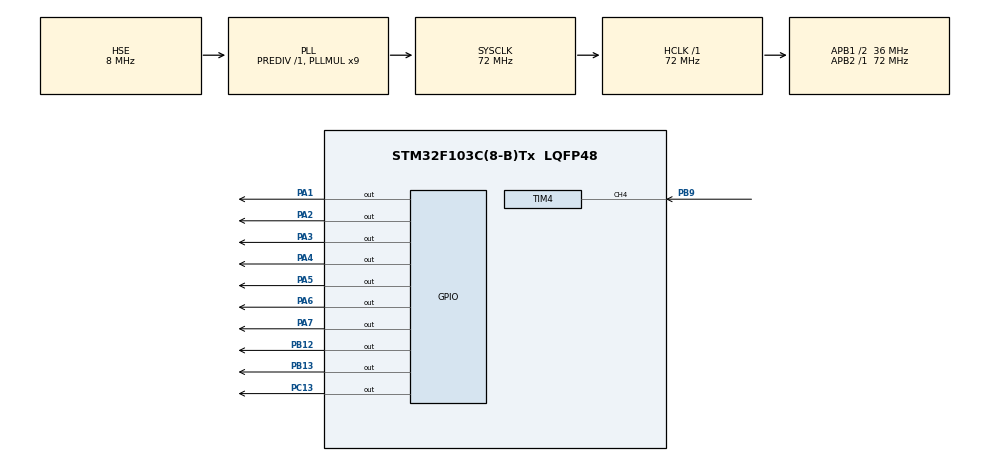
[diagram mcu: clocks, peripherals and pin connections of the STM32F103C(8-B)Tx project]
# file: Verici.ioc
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Mcu.Family=STM32F1
Mcu.Name=STM32F103C(8-B)Tx
Mcu.Package=LQFP48
NVIC.FLASH_IRQn=true\:0\:0\:false\:false\:true\:true\:true\:true
NVIC.PriorityGroup=NVIC_PRIORITYGROUP_4
NVIC.RCC_IRQn=true\:0\:0\:false\:false\:true\:true\:false\:true
NVIC.TIM1_BRK_IRQn=true\:0\:0\:false\:false\:true\:true\:true\:true
NVIC.TIM1_CC_IRQn=true\:0\:0\:false\:false\:true\:true\:true\:true
NVIC.TIM1_TRG_COM_IRQn=true\:0\:0\:false\:false\:true\:true\:true\:true
NVIC.TIM1_UP_IRQn=true\:0\:0\:false\:false\:true\:true\:true\:true
NVIC.TIM4_IRQn=true\:0\:0\:false\:false\:true\:true\:true\:true
PA1.Signal=GPIO_Output
PA13.Mode=Serial_Wire
PA13.Signal=SYS_JTMS-SWDIO
PA14.Mode=Serial_Wire
PA14.Signal=SYS_JTCK-SWCLK
PA2.Signal=GPIO_Output
PA3.Signal=GPIO_Output
PA4.Signal=GPIO_Output
PA5.Signal=GPIO_Output
PA6.Signal=GPIO_Output
PA7.Signal=GPIO_Output
PB12.Signal=GPIO_Output
PB13.Signal=GPIO_Output
PB9.Signal=S_TIM4_CH4
PC13-TAMPER-RTC.Signal=GPIO_Output
PD0-OSC_IN.Mode=HSE-External-Oscillator
PD0-OSC_IN.Signal=RCC_OSC_IN
PD1-OSC_OUT.Mode=HSE-External-Oscillator
PD1-OSC_OUT.Signal=RCC_OSC_OUT
ProjectManager.HeapSize=0x200
ProjectManager.StackSize=0x400
ProjectManager.TargetToolchain=STM32CubeIDE
RCC.AHBFreq_Value=72000000
RCC.APB1CLKDivider=RCC_HCLK_DIV2
RCC.APB1Freq_Value=36000000
RCC.APB1TimFreq_Value=72000000
RCC.APB2Freq_Value=72000000
RCC.APB2TimFreq_Value=72000000
RCC.HCLKFreq_Value=72000000
RCC.PLLMUL=RCC_PLL_MUL9
RCC.PLLSourceVirtual=RCC_PLLSOURCE_HSE
RCC.SYSCLKFreq_VALUE=72000000
RCC.SYSCLKSource=RCC_SYSCLKSOURCE_PLLCLK
RCC.USBFreq_Value=72000000
SH.S_TIM4_CH4.0=TIM4_CH4,Input_Capture4_from_TI4
TIM1.AutoReloadPreload=TIM_AUTORELOAD_PRELOAD_DISABLE
TIM1.Period=0xffff-1
TIM1.Prescaler=72-1
TIM4.Channel-Input_Capture4_from_TI4=TIM_CHANNEL_4
TIM4.ICPolarity_CH4=TIM_INPUTCHANNELPOLARITY_FALLING
TIM4.Period=0xffff-1
TIM4.Prescaler=72-1
VP_TIM1_VS_ClockSourceINT.Mode=Internal
VP_TIM4_VS_ClockSourceINT.Mode=Internal
board=custom

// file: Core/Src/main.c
/* USER CODE BEGIN Header */
/**
  ******************************************************************************
  * @file           : main.c
  * @brief          : Main program body
  ******************************************************************************
  * @attention
  *
  * Copyright (c) 2025 STMicroelectronics.
  * All rights reserved.
  *
  * This software is licensed under terms that can be found in the LICENSE file
  * in the root directory of this software component.
  * If no LICENSE file comes with this software, it is provided AS-IS.
  *
  ******************************************************************************
  */
/* USER CODE END Header */
#include "main.h"

/* USER CODE BEGIN Includes */
#include <math.h> // Sinüs hesaplamaları için gerekli
#include "stdio.h"
#include "LCD1602.h"
#include <stdlib.h>

/* USER CODE END Includes */

TIM_HandleTypeDef htim1;
TIM_HandleTypeDef htim4;

/* USER CODE BEGIN PV */
float deger=100;
float carpan=0.2;
float ekle=100;
int ARR=4000;
int PSC=1;
int frekans=38400;
float F_sayisi=0;
float toplam=0;
float oran=0;
#define TIMCLOCK 72000000.0
#define PRESCALAR 72

uint32_t IC_Val1=0;
uint32_t IC_Val2=0;
uint32_t Difference=0;

int Is_First_Captured=0;

int freq=0;
float frequency = 0;
int gpio9=0;
//periot=(psc-1)*(arr-1)/8000000
//frekans=8000000/((psc-1)*(arr-1))
//frekans*((psc-1)*(arr-1))=8000000
//arr-1=8000000/(frekans*(psc-1))

// Gönderilecek veri
uint8_t txData = 0x00; // Örneğin, 8 bitlik 0x55 verisi (01010101)

// Alınan veri için bir değişken
uint8_t rxData;

/* USER CODE END PV */

void SystemClock_Config(void);
static void MX_GPIO_Init(void);
static void MX_TIM1_Init(void);
static void MX_TIM4_Init(void);

/* USER CODE BEGIN 0 */
int row=0;
int col=0;
char data[32];

void HAL_GPIO_EXTI_Callback(uint16_t GPIO_Pin) {
    if (GPIO_Pin == GPIO_PIN_4) {
        if (GPIOB->IDR & GPIO_IDR_IDR4) {

/*
        	txData++;

        	ARR=(TIMCLOCK/(frekans*(PSC+1)))-1;
      	    TIM1->CCR4=ARR*0.5;
      	    TIM1->ARR=ARR;
      	    TIM1->PSC=PSC;

      	    //HAL_GPIO_TogglePin(GPIOC, GPIO_PIN_13);

        	if(frekans==38400){
        		ekle=-100;
        		frekans=30000;
        	}
        	else if(frekans <= 30000){
        		ekle=100;
        		frekans=38400;
        	}
*/

        }
    }

}

/*
void HAL_TIM_PeriodElapsedCallback(TIM_HandleTypeDef *htim) {
    if (htim->Instance == TIM3) {

  	  //HAL_GPIO_TogglePin(GPIOC, GPIO_PIN_13);
  	  //HAL_GPIO_WritePin(GPIOC, GPIO_PIN_13, RESET);

    	HAL_GPIO_TogglePin(GPIOB, GPIO_PIN_0);

    }

}
*/

void HAL_TIM_IC_CaptureCallback(TIM_HandleTypeDef *htim)
{
	if (htim->Channel == HAL_TIM_ACTIVE_CHANNEL_4)
	{
		if (Is_First_Captured==0) // if the first rising edge is not captured
		{
			IC_Val1 = HAL_TIM_ReadCapturedValue(htim, TIM_CHANNEL_4); // read the first value
			Is_First_Captured = 1;  // set the first captured as true
		}

		else   // If the first rising edge is captured, now we will capture the second edge
		{
			IC_Val2 = HAL_TIM_ReadCapturedValue(htim, TIM_CHANNEL_4);  // read second value

			if (IC_Val2 > IC_Val1)
			{
				Difference = IC_Val2-IC_Val1;
			}

			else if (IC_Val1 > IC_Val2)
			{
				Difference = (0xffffffff - IC_Val1) + IC_Val2;
			}

			float refClock = TIMCLOCK/(PRESCALAR);

			frequency = refClock/Difference;

			__HAL_TIM_SET_COUNTER(htim, 0);  // reset the counter
			Is_First_Captured = 0; // set it back to false
		}
	}
}
/*
void HAL_TIM_IC_CaptureCallback(TIM_HandleTypeDef *htim){

	if(htim->Channel==HAL_TIM_ACTIVE_CHANNEL_4){

		if(is_first_captured==0){

			IC_Val1= HAL_TIM_ReadCapturedValue(htim,TIM_CHANNEL_4); //__HAL_TIM_GET_COMPARE(htim,TIM_CHANNEL_1);  //HAL_TIM_ReadCapturedValue(htim,TIM_CHANNEL_1);
			is_first_captured=1;

			__HAL_TIM_SET_CAPTUREPOLARITY(htim,TIM_CHANNEL_4,TIM_INPUTCHANNELPOLARITY_FALLING);
		}

		else if(is_first_captured==1){
			IC_Val2=HAL_TIM_ReadCapturedValue(htim,TIM_CHANNEL_4); //__HAL_TIM_GET_COMPARE(htim,TIM_CHANNEL_1); //HAL_TIM_ReadCapturedValue(htim,TIM_CHANNEL_1);
			__HAL_TIM_SET_COUNTER(htim, 0);
			if(IC_Val2 > IC_Val1){
				Difference=(IC_Val2-IC_Val1)/100000;

			}
			is_first_captured=0;
			__HAL_TIM_SET_CAPTUREPOLARITY(htim,TIM_CHANNEL_4,TIM_INPUTCHANNELPOLARITY_RISING);

	      }
	}

}

*/
/* USER CODE END 0 */

int main(void)
{

  /* MCU Configuration--------------------------------------------------------*/

  /* Reset of all peripherals, Initializes the Flash interface and the Systick. */
  HAL_Init();

  /* USER CODE BEGIN Init */

  //LCD_Init();
  //lcd_init(_LCD_4BIT, _LCD_FONT_5x8, _LCD_2LINE);
  //lcd_clear();

  /* USER CODE END Init */

  /* Configure the system clock */
  SystemClock_Config();

  /* Initialize all configured peripherals */
  MX_GPIO_Init();
  MX_TIM1_Init();
  MX_TIM4_Init();
  /* USER CODE BEGIN 2 */
  HAL_TIM_Base_Start(&htim1);
  HAL_TIM_IC_Start_IT(&htim4, TIM_CHANNEL_4);

  lcd_init();
   lcd_put_cur(0, 0);
   lcd_send_string("TUBITAK2209-A ");
   HAL_Delay(1000);
   lcd_put_cur(1, 0);
   lcd_send_string("----->AMKS<----- ");
   HAL_Delay(2000);
   lcd_clear();

   lcd_put_cur(0, 0);
   lcd_send_string("Frekans:");

/*
 // HAL_TIM_Base_Start_IT(&htim3);
  HAL_TIM_Base_Start(&htim1);
  HAL_TIM_PWM_Start(&htim1, TIM_CHANNEL_4);

  HAL_TIM_Base_Start(&htim2);
  HAL_TIM_PWM_Start(&htim2, TIM_CHANNEL_4);
  TIM2->CCR4=200*0.5;

  HAL_TIM_IC_Start_IT(&htim4, TIM_CHANNEL_1);

  ARR=(TIMCLOCK/(frekans*(PSC+1)))-1;
  TIM1->CCR4=ARR*0.6;
  TIM1->ARR=ARR;
  TIM1->PSC=PSC;
  HAL_GPIO_WritePin(GPIOA, GPIO_PIN_8, 0);

*/

  //MX_USART3_UART_Init();

  //lcd_print(1, 1,"LCD");
  //lcd_print(2, 1,"ayarlanıyor...");
  //HAL_Delay(250);
  /* USER CODE END 2 */

  /* Infinite loop */
  /* USER CODE BEGIN WHILE */

int fark38;
int fark37;
float f37=1;
float f38=1;
HAL_GPIO_WritePin(GPIOB, GPIO_PIN_13, RESET);
HAL_GPIO_WritePin(GPIOB, GPIO_PIN_12, RESET);
float oran=0;
float eskioran=0;
int artis=0;
int say1=0;
int say0=0;
  while (1)
  {
    /* USER CODE END WHILE */

    /* USER CODE BEGIN 3 */

	  //sprintf(data, "%lu Hz", (unsigned long)Difference);
	  sprintf(data, "%d Hz", (int)frequency);  // %.2f = 2 basamak hassasiyet
	   lcd_put_cur(0, 0);
	   lcd_send_string("Frekans:");
	   lcd_put_cur(0, 8);
	   lcd_send_string(data);
	   HAL_Delay(10);
	   lcd_clear();

	   fark38=(int)frequency-38400;
	   fark37=(int)frequency-37100;

	   if(abs(fark38) <=500){
		   f38++;

	   }
	   else if(abs(fark37) <=500){
		   f37++;

	   }

	   oran=f38/f37;
	   if(oran>eskioran){
		   artis=1;
		   eskioran=oran;
	   }

	   else if(oran<eskioran){
		   artis=0;
		   eskioran=oran;
	   }

	   else{
		   artis=-1;

		   HAL_GPIO_WritePin(GPIOB, GPIO_PIN_13, RESET);
		   HAL_GPIO_WritePin(GPIOB, GPIO_PIN_12, RESET);
	   }

	   if(artis==1){
		   say1++;
		   if(say1>=10){
			   say1=0;
			   say0=0;
			   HAL_GPIO_WritePin(GPIOB, GPIO_PIN_13, RESET);
			   HAL_GPIO_WritePin(GPIOB, GPIO_PIN_12, SET);
		   }

	   }

	   else if(artis==0){
		   say0++;
		   if(say0>=10){
			   say0=0;
			   say1=0;
			   HAL_GPIO_WritePin(GPIOB, GPIO_PIN_13, SET);
			   HAL_GPIO_WritePin(GPIOB, GPIO_PIN_12, RESET);
		   }
	   }

	   if(f38>=200){
		   f38=1;
	   }
	   if(f37>=200){
		   f37=1;
	   }

	   lcd_put_cur(1, 0);
	   lcd_send_string("F_38/F_37:");
	   sprintf(data, "%.2f", oran);
	   lcd_put_cur(1, 10);
	   lcd_send_string(data);

	  /*
	  for (int i=0;i<128;i++)
	  {
		  lcd_put_cur(row, col);

		  lcd_send_data(i+48);

		  col++;

		  if (col > 15) {row++; col = 0;}
		  if (row > 1) row=0;

		  HAL_Delay(250);
	  }
*/

/*
  	for(int frekans=38400;frekans<=44000;frekans+=5600){

			ARR=(TIMCLOCK/(frekans*(PSC+1)))-1;
			TIM1->CCR4=ARR*0.5;
			TIM1->ARR=ARR;
			TIM1->PSC=PSC;

			//HAL_GPIO_TogglePin(GPIOC, GPIO_PIN_13);
			HAL_Delay(100);
  	}

  	for(int frekans=44000;frekans>=38400;frekans-=5600){

			ARR=(TIMCLOCK/(frekans*(PSC+1)))-1;
			TIM1->CCR4=ARR*0.5;
			TIM1->ARR=ARR;
			TIM1->PSC=PSC;

			//HAL_GPIO_TogglePin(GPIOC, GPIO_PIN_13);
			HAL_Delay(0.5);
  	}
*/
	  /*
	  gpio9=HAL_GPIO_ReadPin(GPIOA, GPIO_PIN_9);

	  if(gpio9){
		  HAL_GPIO_WritePin(GPIOC, GPIO_PIN_13, RESET);
		  F_sayisi++;
		  HAL_GPIO_WritePin(GPIOA, GPIO_PIN_8, 1);
	  }
	  else{
		  HAL_GPIO_WritePin(GPIOC, GPIO_PIN_13, SET);
		  toplam++;
		  HAL_GPIO_WritePin(GPIOA, GPIO_PIN_8, 0);
	  }

*/

	  /*

	  if(freq == 38461){
		  HAL_GPIO_WritePin(GPIOC, GPIO_PIN_13, RESET);
		  HAL_TIM_PWM_Start(&htim2, TIM_CHANNEL_4);

	  }
	  else{
		  HAL_TIM_PWM_Stop(&htim2, TIM_CHANNEL_4);
		 HAL_GPIO_WritePin(GPIOC, GPIO_PIN_13, SET);
	  }

	  */
	 // oran=F_sayisi/toplam;

    /*
	  for(int frekans=20000; frekans<=50000;frekans+=100){

      	ARR=(8000000/(frekans*(PSC+1)))-1;
    	TIM1->CCR4=ARR*0.5;
    	TIM1->ARR=ARR;
    	TIM1->PSC=PSC;
    	HAL_Delay(100);
	  }

	  for(int frekans=50000; frekans>=20000;frekans-=100){

      	ARR=(8000000/(frekans*(PSC+1)))-1;
    	TIM1->CCR4=ARR*0.5;
    	TIM1->ARR=ARR;
    	TIM1->PSC=PSC;
    	HAL_Delay(100);
	  }

	*/

      // 8 bitlik veri gönderme
      /*HAL_UART_Transmit(&huart3, &txData, 1, HAL_MAX_DELAY);
      for (int i = 0; i < SAMPLES; i++) {
          // Her örneği UART üzerinden gönder
          HAL_UART_Transmit(&huart3, &sine_wave[i], 1, HAL_MAX_DELAY);
      }

       8 bitlik veri alma
      //HAL_UART_Receive(&huart3, &rxData, 1, HAL_MAX_DELAY);

       Alınan veriyi kontrol edebilirsiniz
      if (rxData == 0x55) {
          // Örneğin: LED yakmak veya başka bir işlem yapmak
          HAL_GPIO_TogglePin(GPIOC, GPIO_PIN_13);
          HAL_Delay(500); // 500ms bekleme
      }
      */

  }
  /* USER CODE END 3 */
}

void SystemClock_Config(void)
{
  RCC_OscInitTypeDef RCC_OscInitStruct = {0};
  RCC_ClkInitTypeDef RCC_ClkInitStruct = {0};

  /** Initializes the RCC Oscillators according to the specified parameters
  * in the RCC_OscInitTypeDef structure.
  */
  RCC_OscInitStruct.OscillatorType = RCC_OSCILLATORTYPE_HSE;
  RCC_OscInitStruct.HSEState = RCC_HSE_ON;
  RCC_OscInitStruct.HSEPredivValue = RCC_HSE_PREDIV_DIV1;
  RCC_OscInitStruct.HSIState = RCC_HSI_ON;
  RCC_OscInitStruct.PLL.PLLState = RCC_PLL_ON;
  RCC_OscInitStruct.PLL.PLLSource = RCC_PLLSOURCE_HSE;
  RCC_OscInitStruct.PLL.PLLMUL = RCC_PLL_MUL9;
  if (HAL_RCC_OscConfig(&RCC_OscInitStruct) != HAL_OK)
  {
    Error_Handler();
  }

  /** Initializes the CPU, AHB and APB buses clocks
  */
  RCC_ClkInitStruct.ClockType = RCC_CLOCKTYPE_HCLK|RCC_CLOCKTYPE_SYSCLK
                              |RCC_CLOCKTYPE_PCLK1|RCC_CLOCKTYPE_PCLK2;
  RCC_ClkInitStruct.SYSCLKSource = RCC_SYSCLKSOURCE_PLLCLK;
  RCC_ClkInitStruct.AHBCLKDivider = RCC_SYSCLK_DIV1;
  RCC_ClkInitStruct.APB1CLKDivider = RCC_HCLK_DIV2;
  RCC_ClkInitStruct.APB2CLKDivider = RCC_HCLK_DIV1;

  if (HAL_RCC_ClockConfig(&RCC_ClkInitStruct, FLASH_LATENCY_2) != HAL_OK)
  {
    Error_Handler();
  }
}

static void MX_TIM1_Init(void)
{

  TIM_ClockConfigTypeDef sClockSourceConfig = {0};
  TIM_MasterConfigTypeDef sMasterConfig = {0};

  htim1.Instance = TIM1;
  htim1.Init.Prescaler = 72-1;
  htim1.Init.CounterMode = TIM_COUNTERMODE_UP;
  htim1.Init.Period = 0xffff-1;
  htim1.Init.ClockDivision = TIM_CLOCKDIVISION_DIV1;
  htim1.Init.RepetitionCounter = 0;
  htim1.Init.AutoReloadPreload = TIM_AUTORELOAD_PRELOAD_DISABLE;
  if (HAL_TIM_Base_Init(&htim1) != HAL_OK)
  {
    Error_Handler();
  }
  sClockSourceConfig.ClockSource = TIM_CLOCKSOURCE_INTERNAL;
  if (HAL_TIM_ConfigClockSource(&htim1, &sClockSourceConfig) != HAL_OK)
  {
    Error_Handler();
  }
  sMasterConfig.MasterOutputTrigger = TIM_TRGO_RESET;
  sMasterConfig.MasterSlaveMode = TIM_MASTERSLAVEMODE_DISABLE;
  if (HAL_TIMEx_MasterConfigSynchronization(&htim1, &sMasterConfig) != HAL_OK)
  {
    Error_Handler();
  }

}

static void MX_TIM4_Init(void)
{

  TIM_ClockConfigTypeDef sClockSourceConfig = {0};
  TIM_MasterConfigTypeDef sMasterConfig = {0};
  TIM_IC_InitTypeDef sConfigIC = {0};

  htim4.Instance = TIM4;
  htim4.Init.Prescaler = 72-1;
  htim4.Init.CounterMode = TIM_COUNTERMODE_UP;
  htim4.Init.Period = 0xffff-1;
  htim4.Init.ClockDivision = TIM_CLOCKDIVISION_DIV1;
  htim4.Init.AutoReloadPreload = TIM_AUTORELOAD_PRELOAD_DISABLE;
  if (HAL_TIM_Base_Init(&htim4) != HAL_OK)
  {
    Error_Handler();
  }
  sClockSourceConfig.ClockSource = TIM_CLOCKSOURCE_INTERNAL;
  if (HAL_TIM_ConfigClockSource(&htim4, &sClockSourceConfig) != HAL_OK)
  {
    Error_Handler();
  }
  if (HAL_TIM_IC_Init(&htim4) != HAL_OK)
  {
    Error_Handler();
  }
  sMasterConfig.MasterOutputTrigger = TIM_TRGO_RESET;
  sMasterConfig.MasterSlaveMode = TIM_MASTERSLAVEMODE_DISABLE;
  if (HAL_TIMEx_MasterConfigSynchronization(&htim4, &sMasterConfig) != HAL_OK)
  {
    Error_Handler();
  }
  sConfigIC.ICPolarity = TIM_INPUTCHANNELPOLARITY_FALLING;
  sConfigIC.ICSelection = TIM_ICSELECTION_DIRECTTI;
  sConfigIC.ICPrescaler = TIM_ICPSC_DIV1;
  sConfigIC.ICFilter = 0;
  if (HAL_TIM_IC_ConfigChannel(&htim4, &sConfigIC, TIM_CHANNEL_4) != HAL_OK)
  {
    Error_Handler();
  }

}

static void MX_GPIO_Init(void)
{
  GPIO_InitTypeDef GPIO_InitStruct = {0};

  /* GPIO Ports Clock Enable */
  __HAL_RCC_GPIOC_CLK_ENABLE();
  __HAL_RCC_GPIOD_CLK_ENABLE();
  __HAL_RCC_GPIOA_CLK_ENABLE();
  __HAL_RCC_GPIOB_CLK_ENABLE();

  /*Configure GPIO pin Output Level */
  HAL_GPIO_WritePin(GPIOC, GPIO_PIN_13, GPIO_PIN_RESET);

  /*Configure GPIO pin Output Level */
  HAL_GPIO_WritePin(GPIOA, GPIO_PIN_1|GPIO_PIN_2|GPIO_PIN_3|GPIO_PIN_4
                          |GPIO_PIN_5|GPIO_PIN_6|GPIO_PIN_7, GPIO_PIN_RESET);

  /*Configure GPIO pin Output Level */
  HAL_GPIO_WritePin(GPIOB, GPIO_PIN_12|GPIO_PIN_13, GPIO_PIN_RESET);

  /*Configure GPIO pin : PC13 */
  GPIO_InitStruct.Pin = GPIO_PIN_13;
  GPIO_InitStruct.Mode = GPIO_MODE_OUTPUT_PP;
  GPIO_InitStruct.Pull = GPIO_NOPULL;
  GPIO_InitStruct.Speed = GPIO_SPEED_FREQ_LOW;
  HAL_GPIO_Init(GPIOC, &GPIO_InitStruct);

  /*Configure GPIO pins : PA1 PA2 PA3 PA4
                           PA5 PA6 PA7 */
  GPIO_InitStruct.Pin = GPIO_PIN_1|GPIO_PIN_2|GPIO_PIN_3|GPIO_PIN_4
                          |GPIO_PIN_5|GPIO_PIN_6|GPIO_PIN_7;
  GPIO_InitStruct.Mode = GPIO_MODE_OUTPUT_PP;
  GPIO_InitStruct.Pull = GPIO_NOPULL;
  GPIO_InitStruct.Speed = GPIO_SPEED_FREQ_LOW;
  HAL_GPIO_Init(GPIOA, &GPIO_InitStruct);

  /*Configure GPIO pins : PB12 PB13 */
  GPIO_InitStruct.Pin = GPIO_PIN_12|GPIO_PIN_13;
  GPIO_InitStruct.Mode = GPIO_MODE_OUTPUT_PP;
  GPIO_InitStruct.Pull = GPIO_NOPULL;
  GPIO_InitStruct.Speed = GPIO_SPEED_FREQ_LOW;
  HAL_GPIO_Init(GPIOB, &GPIO_InitStruct);

}

void Error_Handler(void)
{
  __disable_irq();
  while (1)
  {
  }
}
